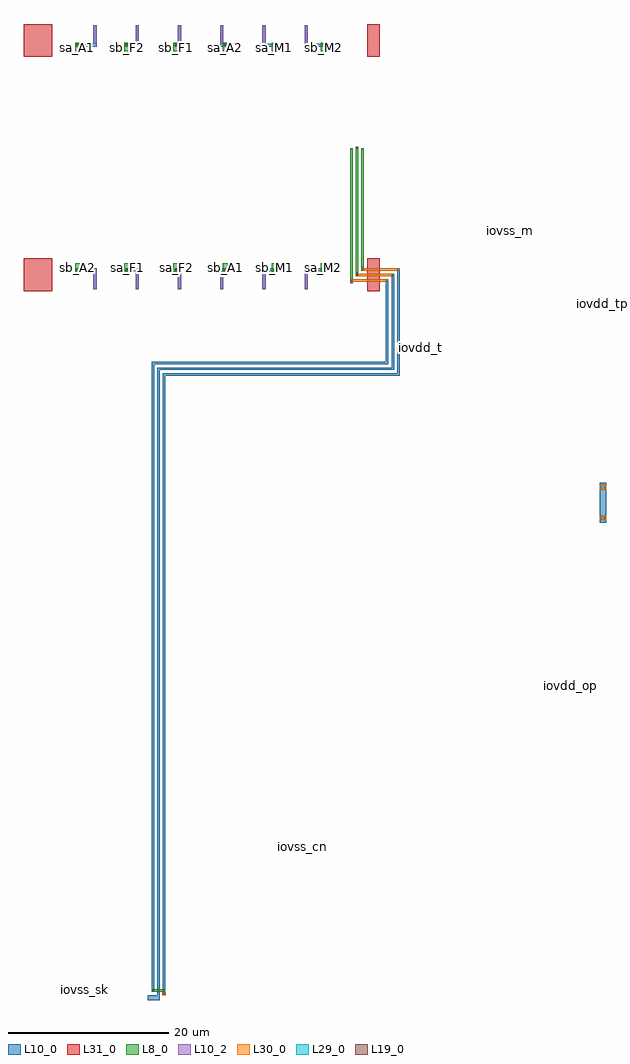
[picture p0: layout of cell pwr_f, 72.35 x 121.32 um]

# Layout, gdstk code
import gdstk
lib = gdstk.Library(unit=1e-6, precision=1e-09)
def R(c, l, rs):  # rectangles x0, y0, x1, y1
    for r in rs: c.add(gdstk.rectangle(r[:2], r[2:], *l))
def A(c, l, x, y, w, h, nx, ny, dx, dy):  # array of equal rectangles
    R(c, l, [(x+i*dx, y+j*dy, x+i*dx+w, y+j*dy+h) for i in range(nx) for j in range(ny)])
L8_0 = (8, 0)
L10_0 = (10, 0)
L10_2 = (10, 2)
L19_0 = (19, 0)
L29_0 = (29, 0)
L30_0 = (30, 0)
L31_0 = (31, 0)

pwr_f = lib.new_cell('pwr_f')
A(pwr_f, L8_0, 11.38, 121.4, 0.67, 1.05, 6, 2, 6.1, 27.39)
R(pwr_f, L8_0, [(20.865,31.9,22.565,32.2), (45.54,120.15,45.84,136.75), (46.24,120.85,46.54,136.95), (46.94,121.55,47.24,136.75)])
A(pwr_f, L10_0, 13.64, 119.2, 0.4, 2.66, 6, 2, 5.25, 30.18)
R(pwr_f, L10_0, [(20.4,30.88,21.865,31.48), (21.565,31.03,21.865,109.5), (22.265,31.55,22.565,108.8), (12.1,31.85,12.9,32.45), (20.865,31.9,21.165,110.2), (39.2,49.7,40,50.3), (72.55,69.7,73.35,70.3), (76.55,90.2,77.35,95.2), (22.265,108.5,51.7,108.8), (51.4,108.5,51.7,121.85), (21.565,109.2,51,109.5), (50.7,109.2,51,121.15), (20.865,109.9,50.3,110.2), (50,109.9,50.3,120.45), (53.9,111.7,54.7,112.3), (76.55,117.2,77.35,117.8), (45.54,119.95,45.84,120.45), (46.24,120.85,46.54,121.35), (11.515,121.47,14.04,121.86), (17.615,121.47,19.29,121.86), (23.715,121.47,24.54,121.86), (29.39,121.47,30.215,121.86), (34.64,121.47,36.315,121.86), (39.89,121.47,42.415,121.86), (46.94,121.55,47.24,122.05), (65.1,126.2,65.9,126.8), (11.515,149.38,14.04,149.77), (17.615,149.38,19.29,149.77), (23.715,149.38,24.54,149.77), (29.39,149.38,30.215,149.77), (34.64,149.38,36.315,149.77), (39.89,149.38,42.415,149.77)])
A(pwr_f, L10_2, 13.64, 119.2, 0.4, 2.27, 6, 2, 5.25, 30.57)
R(pwr_f, L10_2, [(12.1,31.85,12.9,32.45), (39.2,49.7,40,50.3), (72.55,69.7,73.35,70.3), (53.9,111.7,54.7,112.3), (76.55,117.2,77.35,117.8), (65.1,126.2,65.9,126.8)])
A(pwr_f, L19_0, 11.62, 121.57, 0.19, 0.19, 6, 2, 6.1, 27.91)
R(pwr_f, L19_0, [(20.92,31.955,21.11,32.145), (22.32,31.955,22.51,32.145), (45.595,120.205,45.785,120.395), (46.295,120.905,46.485,121.095), (46.995,121.605,47.185,121.795), (46.295,136.705,46.485,136.895)])
R(pwr_f, L29_0, [(22.32,31.605,22.51,31.795), (12.2,32.055,12.39,32.245), (12.61,32.055,12.8,32.245), (39.3,49.905,39.49,50.095), (39.71,49.905,39.9,50.095), (72.65,69.905,72.84,70.095), (73.06,69.905,73.25,70.095), (76.65,90.705,76.84,90.895), (77.06,90.705,77.25,90.895), (76.65,94.505,76.84,94.695), (77.06,94.505,77.25,94.695), (54,111.905,54.19,112.095), (54.41,111.905,54.6,112.095), (76.65,117.405,76.84,117.595), (77.06,117.405,77.25,117.595), (45.595,120.205,45.785,120.395), (50.055,120.205,50.245,120.395), (46.295,120.905,46.485,121.095), (50.755,120.905,50.945,121.095), (46.995,121.605,47.185,121.795), (51.455,121.605,51.645,121.795), (65.2,126.405,65.39,126.595), (65.61,126.405,65.8,126.595)])
R(pwr_f, L30_0, [(22.215,31.5,22.615,31.9), (12.1,31.85,12.9,32.45), (39.2,49.7,40,50.3), (72.55,69.7,73.35,70.3), (76.55,90.5,77.35,91.1), (76.55,94.3,77.35,94.9), (53.9,111.7,54.7,112.3), (76.55,117.2,77.35,117.8), (45.54,120.15,50.3,120.45), (46.24,120.85,51,121.15), (46.94,121.55,51.7,121.85), (65.1,126.2,65.9,126.8)])
R(pwr_f, L31_0, [(5,119,8.5,123.1), (47.7,119,49.2,123.1), (5,148.1,8.5,152.2), (47.7,148.1,49.2,152.2)])
pwr_f.add(gdstk.Label('sb_A2', (11.715,121.9), layer=8, texttype=25))
pwr_f.add(gdstk.Label('sa_A1', (11.715,149.34), layer=8, texttype=25))
pwr_f.add(gdstk.Label('sa_F1', (17.815,121.9), layer=8, texttype=25))
pwr_f.add(gdstk.Label('sb_F2', (17.815,149.34), layer=8, texttype=25))
pwr_f.add(gdstk.Label('sa_F2', (23.915,121.9), layer=8, texttype=25))
pwr_f.add(gdstk.Label('sb_F1', (23.915,149.34), layer=8, texttype=25))
pwr_f.add(gdstk.Label('sb_A1', (30.015,121.9), layer=8, texttype=25))
pwr_f.add(gdstk.Label('sa_A2', (30.015,149.34), layer=8, texttype=25))
pwr_f.add(gdstk.Label('sb_M1', (36.115,121.9), layer=8, texttype=25))
pwr_f.add(gdstk.Label('sa_M1', (36.115,149.34), layer=8, texttype=25))
pwr_f.add(gdstk.Label('sa_M2', (42.215,121.9), layer=8, texttype=25))
pwr_f.add(gdstk.Label('sb_M2', (42.215,149.34), layer=8, texttype=25))
pwr_f.add(gdstk.Label('iovss_sk', (12.5,32.15), layer=10, texttype=25))
pwr_f.add(gdstk.Label('iovss_cn', (39.6,50), layer=10, texttype=25))
pwr_f.add(gdstk.Label('iovdd_op', (72.95,70), layer=10, texttype=25))
pwr_f.add(gdstk.Label('iovdd_t', (54.3,112), layer=10, texttype=25))
pwr_f.add(gdstk.Label('iovss_m', (65.5,126.5), layer=10, texttype=25))
pwr_f.add(gdstk.Label('iovdd_tp', (76.95,117.5), layer=10, texttype=25))
pwr_f.add(gdstk.Label('sb_A2', (13.84,120.335), layer=10, texttype=25))
pwr_f.add(gdstk.Label('sa_A1', (13.84,150.905), layer=10, texttype=25))
pwr_f.add(gdstk.Label('sa_F1', (19.09,120.335), layer=10, texttype=25))
pwr_f.add(gdstk.Label('sb_F2', (19.09,150.905), layer=10, texttype=25))
pwr_f.add(gdstk.Label('sa_F2', (24.34,120.335), layer=10, texttype=25))
pwr_f.add(gdstk.Label('sb_F1', (24.34,150.905), layer=10, texttype=25))
pwr_f.add(gdstk.Label('sb_A1', (29.59,120.335), layer=10, texttype=25))
pwr_f.add(gdstk.Label('sa_A2', (29.59,150.905), layer=10, texttype=25))
pwr_f.add(gdstk.Label('sb_M1', (34.84,120.335), layer=10, texttype=25))
pwr_f.add(gdstk.Label('sa_M1', (34.84,150.905), layer=10, texttype=25))
pwr_f.add(gdstk.Label('sa_M2', (40.09,120.335), layer=10, texttype=25))
pwr_f.add(gdstk.Label('sb_M2', (40.09,150.905), layer=10, texttype=25))

lib.write_gds('pwr_f.gds')
